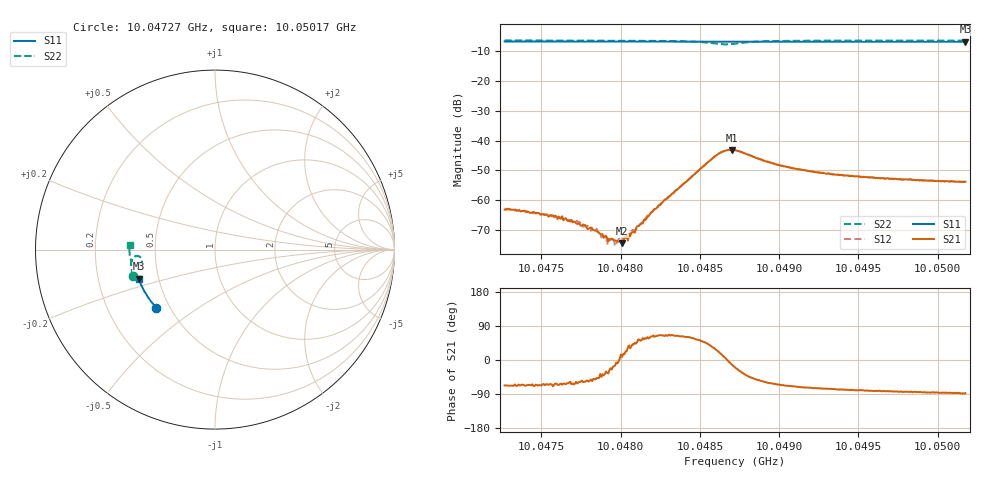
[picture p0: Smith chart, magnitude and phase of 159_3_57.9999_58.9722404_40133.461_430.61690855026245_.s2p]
#  HZ  S  RI  R  50.00
! Rohde & Schwarz Vector Network Analyzer
! Rohde-Schwarz,ZNB20-2Port,1311601062101988,3.16
! Created: UTC 3/21/2024, 12:57:22 AM
! freq[Hz]  re:S11  im:S11  re:S21  im:S21  re:S12  im:S12  re:S22  im:S22
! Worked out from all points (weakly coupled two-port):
!   401 points, 10.04727 GHz to 10.05017 GHz, reference 50 ohm
!   highest |S21| = -43.11 dB at 10.0487 GHz (marker M1); lowest = -74.5 dB at 10.04801 GHz (marker M2)
!   lowest |S11| = -6.8 dB at 10.05017 GHz (marker M3), VSWR 2.67, Z = 19.3 - j7.87 ohm
!   |S11| at or under -10 dB: nowhere
!   |S22| runs from -7.7 to -6.4 dB; largest |S21 - S12| = 0.00048
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1.0047268e10  -0.3261 -0.3247  0.000268 -0.000641  0.000326 -0.000647  -0.4555 -0.1482
1.0047573e10  -0.3397 -0.3097  0.000194 -0.000522  0.000294 -0.000449  -0.4609 -0.1271
1.0047733e10  -0.3466 -0.3014  0.000205 -0.000345  0.00024 -0.000348  -0.4633 -0.1156
1.0047755e10  -0.3474 -0.3004  0.000216 -0.0003  0.000232 -0.000302  -0.4637 -0.1139
1.0047835e10  -0.3507 -0.2961  0.000199 -0.000239  0.000208 -0.000236  -0.4647 -0.1077
1.0047908e10  -0.3537 -0.2924  0.000214 -0.000125  0.000209 -0.000164  -0.4655 -0.1021
1.0047929e10  -0.3546 -0.2913  0.0002 -0.000101  0.000201 -0.000105  -0.4657 -0.1004
1.0047944e10  -0.3551 -0.2904  0.000205 -9.6e-05  0.000208 -9.9e-05  -0.4659 -0.0993
1.0047966e10  -0.3562 -0.2893  0.000203 -5.17e-05  0.000168 -1.93e-05  -0.466 -0.0975
1.0048009e10  -0.3579 -0.287  0.000185 2.76e-05  0.000229 3.89e-05  -0.4665 -0.094
1.0048038e10  -0.3589 -0.2855  0.000243 0.000103  0.000221 0.000103  -0.4666 -0.0915
1.0048104e10  -0.3615 -0.2821  0.000246 0.000269  0.000219 0.000249  -0.4669 -0.0857
1.0048176e10  -0.3644 -0.2781  0.000298 0.000451  0.00025 0.000519  -0.4669 -0.0789
1.0048242e10  -0.3669 -0.2746  0.000347 0.000747  0.000313 0.000753  -0.4664 -0.0724
1.0048591e10  -0.3795 -0.255  0.00455 0.00275  0.00439 0.00305  -0.4255 -0.0367
1.0048649e10  -0.381 -0.2521  0.00652 0.00112  0.0065 0.00151  -0.4091 -0.0516
1.00487e10  -0.3829 -0.2494  0.00686 -0.00137  0.00697 -0.000897  -0.41 -0.0726
1.0048721e10  -0.3835 -0.2481  0.00648 -0.00228  0.00667 -0.00188  -0.415 -0.0797
1.0048976e10  -0.3926 -0.2341  0.00182 -0.00359  0.00202 -0.00353  -0.4638 -0.0694
1.0049208e10  -0.4001 -0.2205  0.000849 -0.00292  0.00104 -0.00287  -0.4725 -0.0455
1.0049695e10  -0.4138 -0.1915  0.000275 -0.00226  0.000428 -0.00224  -0.4767 -0.00674
1.0050175e10  -0.4253 -0.162  0.0001 -0.00204  0.000175 -0.00203  -0.476 0.0273
